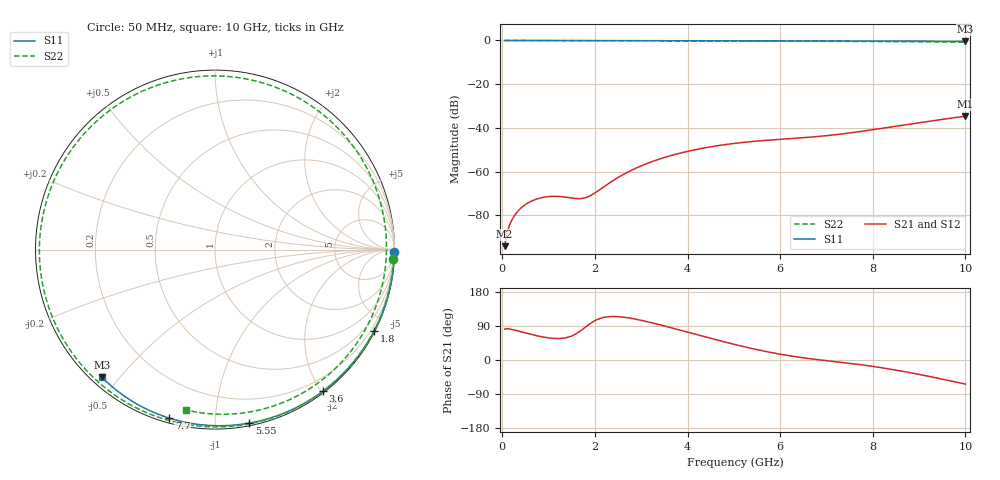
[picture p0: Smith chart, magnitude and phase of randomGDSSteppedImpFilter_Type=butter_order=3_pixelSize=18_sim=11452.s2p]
! freq	dB(S11)	phase(S11)	dB(S12)	phase(S12)
!  dB(S21)	phase(S21)	dB(S22)	phase(S22)
!S-par simulation data
#  GHz  S  DB  R 50
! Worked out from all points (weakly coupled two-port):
!   200 points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, 50 MHz to 10 GHz, reference 50 ohm
!   highest |S21| = -34.66 dB at 10 GHz (marker M1); lowest = -94.1 dB at 50 MHz (marker M2)
!   lowest |S11| = -0.4 dB at 10 GHz (marker M3), VSWR 38.98, Z = 1.54 - j22.4 ohm
!   |S11| at or under -10 dB: nowhere
!   |S22| runs from -0.8 to 0.0 dB; largest |S21 - S12| = 0
!   S11 on the Smith chart (normalised r, x): 50 MHz: open; 1.8 GHz: 0.04, -4.17; 3.6 GHz: 0.02, -2.02; 5.55 GHz: 0.02, -1.22; 7.7 GHz: 0.02, -0.76; 10 GHz: 0.03, -0.45
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0.05  -0.01 -0.7  -94.14 81.4  -94.14 81.4  -0.04 -3.1
0.25  -0.01 -3.8  -80.54 79.4  -80.54 79.4  -0.04 -15.3
0.55  -0.01 -8.3  -74.41 69.8  -74.41 69.8  -0.05 -33.4
0.95  -0.02 -14.3  -71.57 59.3  -71.57 59.3  -0.07 -57.1
1.35  -0.03 -20.3  -71.68 58.3  -71.68 58.3  -0.09 -79.7
1.75  -0.03 -26.2  -72.19 82.4  -72.19 82.4  -0.12 -101.3
1.8  -0.03 -27.0  -71.92 87.2  -71.92 87.2  -0.12 -104.0
2.2  -0.04 -32.8  -66.85 112.5  -66.85 112.5  -0.14 -124.5
2.65  -0.05 -39.3  -60.91 112.5  -60.91 112.5  -0.16 -146.7
3.05  -0.06 -45.0  -56.95 103.3  -56.95 103.3  -0.17 -165.8
3.4  -0.07 -50.0  -54.25 93.0  -54.25 93.0  -0.19 177.7
3.6  -0.07 -52.7  -52.94 86.7  -52.94 86.7  -0.20 168.4
4.4  -0.09 -63.7  -49.04 60.4  -49.04 60.4  -0.24 130.9
5.05  -0.11 -72.3  -47.02 40.1  -47.02 40.1  -0.27 100.0
5.55  -0.13 -78.8  -45.97 26.1  -45.97 26.1  -0.30 76.2
6.15  -0.15 -86.4  -45.02 12.2  -45.02 12.2  -0.33 47.8
6.7  -0.18 -93.2  -44.16 2.6  -44.16 2.6  -0.36 22.5
7.2  -0.21 -99.2  -43.12 -4.6  -43.12 -4.6  -0.39 0.6
7.7  -0.24 -105.2  -41.77 -11.9  -41.77 -11.9  -0.44 -20.1
8.35  -0.29 -112.8  -39.70 -23.5  -39.70 -23.5  -0.52 -45.0
9.15  -0.36 -122.0  -37.17 -41.7  -37.17 -41.7  -0.65 -72.9
10  -0.45 -131.6  -34.66 -63.6  -34.66 -63.6  -0.84 -100.3
